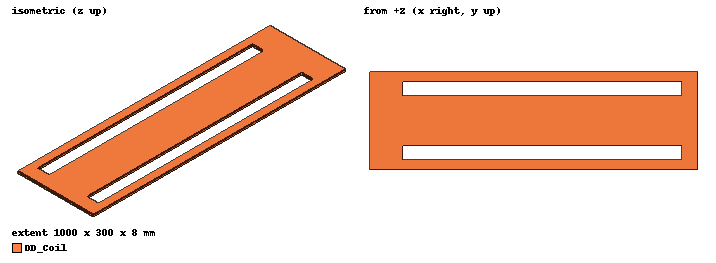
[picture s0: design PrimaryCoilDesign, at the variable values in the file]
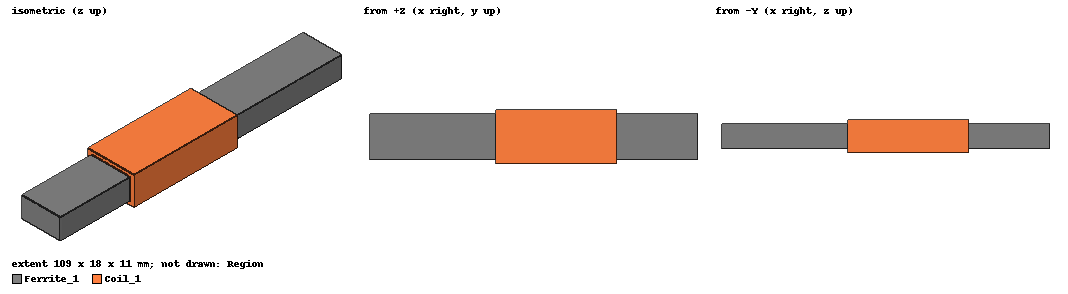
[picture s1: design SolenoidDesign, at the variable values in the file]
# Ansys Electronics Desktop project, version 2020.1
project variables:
  $P1 = 10mm
  $track_width = 300mm
  $parameter_1 = 150mm  # description 1
  $parameter_2 = 30mm
  $box_width = ($track_width - 2*$parameter_2 - $parameter_1) / 2
  $coil_diameter = 8mm
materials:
  vacuum: permittivity=1
  copper: permeability=0.999991 conductivity=58000000
  ferrite: permittivity=12 permeability=1000 conductivity=0.01

design PrimaryCoilDesign (Maxwell 3D, Magnetostatic, model units mm)
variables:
  b1_y = 50mm
  box1width = 30mm
  box2width = $box_width
  coil_diameter = $coil_diameter
  P_2 = $parameter_2
  P_1 = ($parameter_1) / 2
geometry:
  DD_Coil [copper] = box(corner=(0mm, 0mm, 0mm), size=(1000mm, 300mm, coil_diameter))
  Box3 = box(corner=(100mm, P_2, 0mm), size=(850mm, box2width, coil_diameter))
  Polyline1 = polyline((0mm, 150mm, 8mm) (1000mm, 150mm, 8mm))
  Box3_1 = Box3.duplicate_mirror(point=(100mm, 150mm, 0mm), normal=(0mm, -1mm, 0mm))
  DD_Coil.subtract(Box3, Box3_1)
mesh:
  initial mesh: GlobalCurvilinear{Apply}

design SolenoidDesign (Maxwell 3D, Magnetostatic, model units mm)
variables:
  P = 25mm
  Parameter_3 = 109mm
  Parameter_4 = 40mm
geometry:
  Ferrite_1 [ferrite] = box(corner=(-54.5mm, -7.5mm, -4mm), size=(Parameter_3, 15mm, 8mm))
  Coil_1 [copper] = box(corner=(-12.5mm, -9mm, -5.5mm), size=(Parameter_4, 18mm, 11mm))
  Box3 = box(corner=(-12.5mm, -7.5mm, -4mm), size=(Parameter_4, 15mm, 8mm))
  Coil_1.subtract(Box3)
  Coil_1_Section1 [copper] = Coil_1.section(plane=XY)
  Coil_1_Section1.separate_bodies()
  Region [vacuum] = region(percentage_offset: +X=200, -X=200, +Y=800, -Y=800, +Z=1000, -Z=600)
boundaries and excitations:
  L_pt: Current Objects=Coil_1_Section1 Current=1A IsSolid=false Point_out_of_terminal=false
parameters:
  Matrix1: Matrix L_pt: NumberOfTurns=20
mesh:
  initial mesh: GlobalCurvilinear{Apply}
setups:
  Setup1: Magnetostatic MaximumPasses=30 MinimumPasses=2 MinimumConvergedPasses=1 PercentRefinement=30 PercentError=1 NonLinearResidual=0.001
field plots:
  B_Vector1: B over a plane on Setup1 : LastAdaptive
  Mesh1: MeshPlots in Coil_1 on Setup1 : LastAdaptive
  Mesh2: MeshPlots in Ferrite_1 on Setup1 : LastAdaptive
  Mesh3: MeshPlots in Region on Setup1 : LastAdaptive
  Mag_B1: B over Ferrite_1.face(+y) on Setup1 : LastAdaptive
